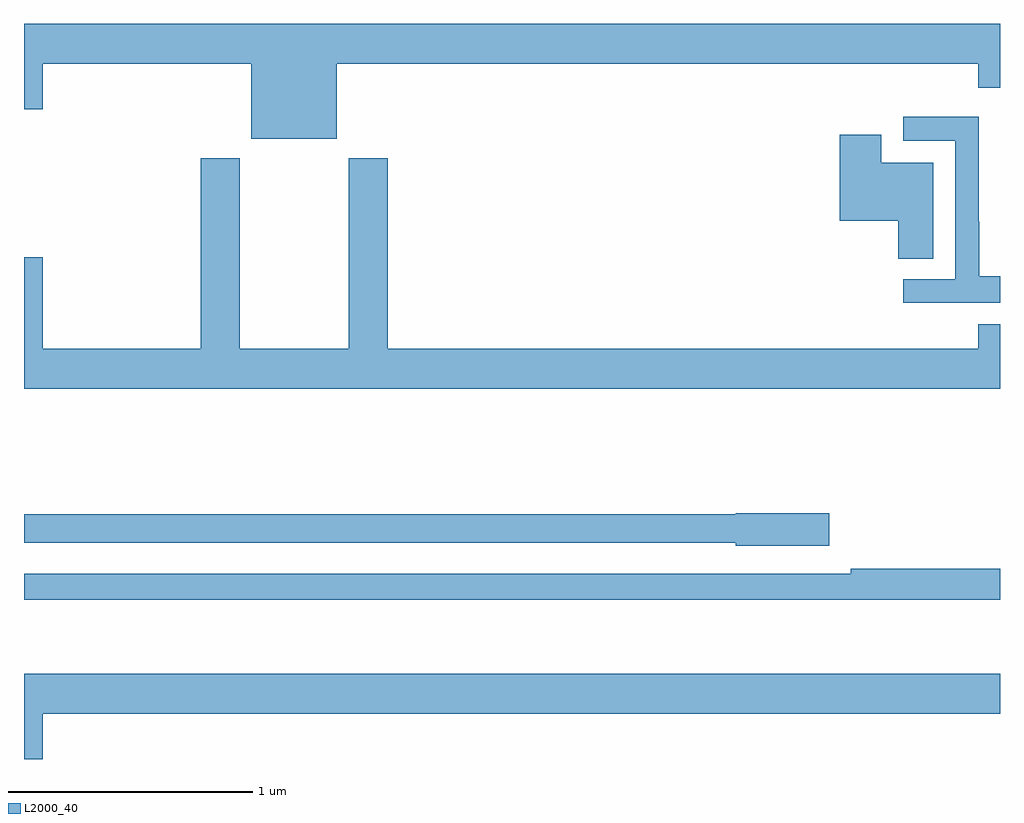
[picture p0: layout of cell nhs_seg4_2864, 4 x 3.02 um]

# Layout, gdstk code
import gdstk
lib = gdstk.Library(unit=1e-6, precision=1e-09)
def P(c, l, *ps):  # polygons
    for p in ps: c.add(gdstk.Polygon(p, *l))
L2000_40 = (2000, 40)

nhs_seg4_2864 = lib.new_cell('nhs_seg4_2864')
P(nhs_seg4_2864, L2000_40, [(262.282,814.136),(264.911,814.136),(264.911,814.037),(265,814.037),(265,814.3),(261,814.3),(261,813.948),(261.076,813.948),(261.076,814.136),(261.932,814.136),(261.932,813.827),(262.282,813.827)],
  [(265,813.265),(264.915,813.265),(264.915,813.488),(264.912,813.488),(264.912,813.918),(264.603,813.918),(264.603,813.819),(264.816,813.819),(264.816,813.252),(264.603,813.252),(264.603,813.156),(265,813.156)],
  [(264.727,813.73),(264.514,813.73),(264.514,813.844),(264.344,813.844),(264.344,813.491),(264.584,813.491),(264.584,813.337),(264.727,813.337)],
  [(265,813.067),(264.911,813.067),(264.911,812.968),(262.49,812.968),(262.49,813.748),(262.33,813.748),(262.33,812.968),(261.885,812.968),(261.885,813.748),(261.725,813.748),(261.725,812.968),(261.076,812.968),(261.076,813.343),(261,813.343),(261,812.804),(265,812.804)],
  [(264.301,812.294),(263.916,812.294),(263.916,812.288),(261,812.288),(261,812.172),(263.916,812.172),(263.916,812.159),(264.301,812.159)],
  [(265,812.066),(264.388,812.066),(264.388,812.046),(261,812.046),(261,811.938),(265,811.938)],
  [(261.076,811.472),(265,811.472),(265,811.636),(261,811.636),(261,811.284),(261.076,811.284)])

lib.write_gds('nhs_seg4_2864.gds')
